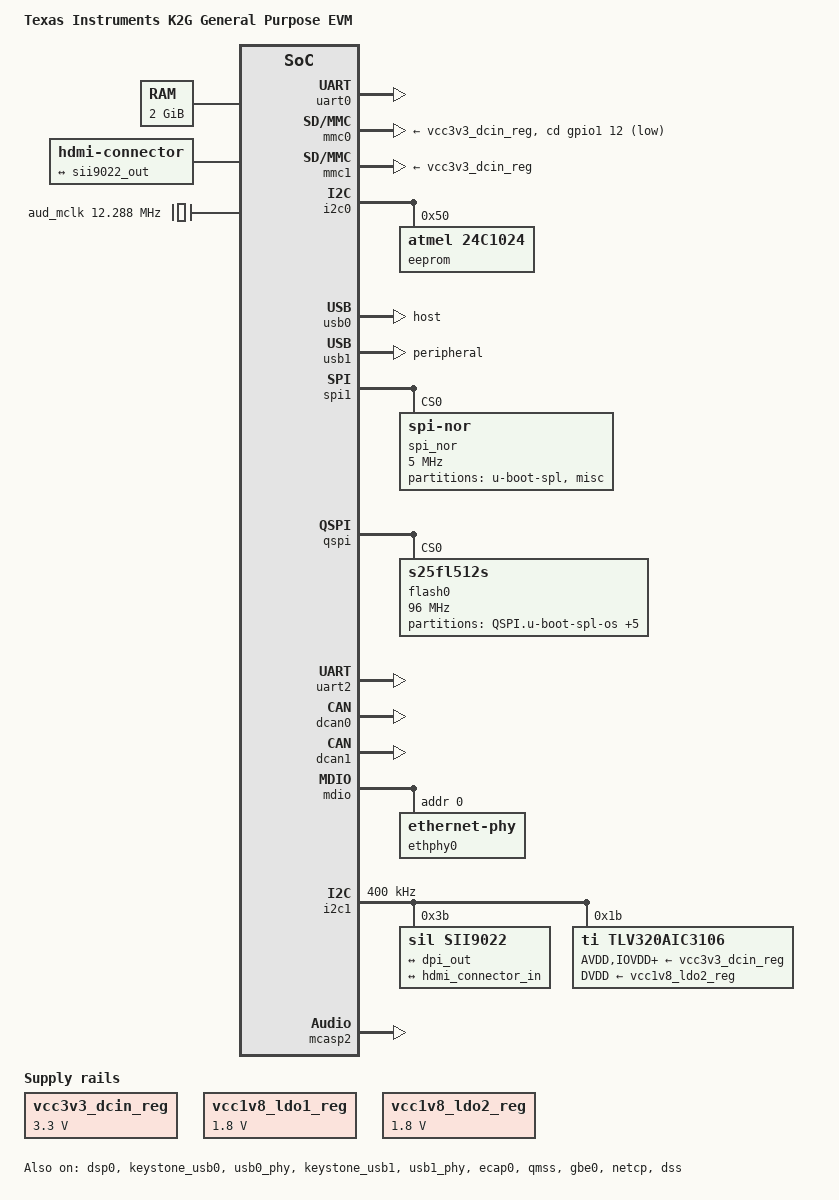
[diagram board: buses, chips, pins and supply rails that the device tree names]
// SPDX-License-Identifier: GPL-2.0
/*
 * Device Tree Source for K2G EVM
 *
 * Copyright (C) 2016-2017 Texas Instruments Incorporated - http://www.ti.com/
 */
/dts-v1/;

#include "keystone-k2g.dtsi"

/ {
	compatible = "ti,k2g-evm", "ti,k2g", "ti,keystone";
	model = "Texas Instruments K2G General Purpose EVM";

	memory@800000000 {
		device_type = "memory";
		reg = <0x00000008 0x00000000 0x00000000 0x80000000>;
	};

	reserved-memory {
		#address-cells = <2>;
		#size-cells = <2>;
		ranges;

		dsp_common_memory: dsp-common-memory@81f800000 {
			compatible = "shared-dma-pool";
			reg = <0x00000008 0x1f800000 0x00000000 0x800000>;
			reusable;
			status = "okay";
		};
	};

	vcc3v3_dcin_reg: fixedregulator-vcc3v3-dcin {
		compatible = "regulator-fixed";
		regulator-name = "mmc0_fixed";
		regulator-min-microvolt = <3300000>;
		regulator-max-microvolt = <3300000>;
		regulator-always-on;
	};

	vcc1v8_ldo1_reg: fixedregulator-vcc1v8-ldo1 {
		compatible = "regulator-fixed";
		regulator-name = "ldo1";
		regulator-min-microvolt = <1800000>;
		regulator-max-microvolt = <1800000>;
		regulator-always-on;
	};

	vcc1v8_ldo2_reg: fixedregulator-vcc1v8-ldo2 {
		compatible = "regulator-fixed";
		regulator-name = "ldo2";
		regulator-min-microvolt = <1800000>;
		regulator-max-microvolt = <1800000>;
		regulator-always-on;
	};

	hdmi: connector {
		compatible = "hdmi-connector";
		label = "hdmi";

		type = "a";

		port {
			hdmi_connector_in: endpoint {
				remote-endpoint = <&sii9022_out>;
			};
		};
	};

	aud_mclk: aud_mclk {
		compatible = "fixed-clock";
		#clock-cells = <0>;
		clock-frequency = <12288000>;
	};

	sound0: sound@0 {
		compatible = "simple-audio-card";
		simple-audio-card,name = "K2G-EVM";
		simple-audio-card,widgets =
			"Headphone", "Headphone Jack",
			"Line", "Line In";
		simple-audio-card,routing =
			"Headphone Jack",	"HPLOUT",
			"Headphone Jack",	"HPROUT",
			"LINE1L",		"Line In",
			"LINE1R",		"Line In";

		simple-audio-card,dai-link@0 {
			format = "i2s";
			bitclock-master = <&sound0_0_master>;
			frame-master = <&sound0_0_master>;
			sound0_0_master: cpu {
				sound-dai = <&mcasp2>;
				clocks = <&k2g_clks 0x6 1>;
				system-clock-direction-out;
			};

			codec {
				sound-dai = <&tlv320aic3106>;
				clocks = <&aud_mclk>;
			};
		};

		simple-audio-card,dai-link@1 {
			format = "i2s";
			bitclock-master = <&sound0_1_master>;
			frame-master = <&sound0_1_master>;
			sound0_1_master: cpu {
				sound-dai = <&mcasp2>;
				clocks = <&k2g_clks 0x6 1>;
				system-clock-direction-out;
			};

			codec {
				sound-dai = <&sii9022>;
				clocks = <&aud_mclk>;
			};
		};
	};
};

&k2g_pinctrl {
	uart0_pins: uart0-pins {
		pinctrl-single,pins = <
			K2G_CORE_IOPAD(0x11cc) (BUFFER_CLASS_B | PULL_DISABLE | MUX_MODE0)	/* uart0_rxd.uart0_rxd */
			K2G_CORE_IOPAD(0x11d0) (BUFFER_CLASS_B | PIN_PULLDOWN | MUX_MODE0)	/* uart0_txd.uart0_txd */
		>;
	};

	mmc0_pins: mmc0-pins {
		pinctrl-single,pins = <
			K2G_CORE_IOPAD(0x1300) (BUFFER_CLASS_B | PIN_PULLUP | MUX_MODE2)	/* mmc0_dat3.mmc0_dat3 */
			K2G_CORE_IOPAD(0x1304) (BUFFER_CLASS_B | PIN_PULLUP | MUX_MODE2)	/* mmc0_dat2.mmc0_dat2 */
			K2G_CORE_IOPAD(0x1308) (BUFFER_CLASS_B | PIN_PULLUP | MUX_MODE2)	/* mmc0_dat1.mmc0_dat1 */
			K2G_CORE_IOPAD(0x130c) (BUFFER_CLASS_B | PIN_PULLUP | MUX_MODE2)	/* mmc0_dat0.mmc0_dat0 */
			K2G_CORE_IOPAD(0x1310) (BUFFER_CLASS_B | PIN_PULLUP | MUX_MODE2)	/* mmc0_clk.mmc0_clk */
			K2G_CORE_IOPAD(0x1314) (BUFFER_CLASS_B | PIN_PULLUP | MUX_MODE2)	/* mmc0_cmd.mmc0_cmd */
			K2G_CORE_IOPAD(0x12ec) (BUFFER_CLASS_B | PIN_PULLUP | MUX_MODE3)	/* mmc0_sdcd.gpio1_12 */
		>;
	};

	mmc1_pins: mmc1-pins {
		pinctrl-single,pins = <
			K2G_CORE_IOPAD(0x10ec) (BUFFER_CLASS_B | PIN_PULLUP | MUX_MODE0)	/* mmc1_dat7.mmc1_dat7 */
			K2G_CORE_IOPAD(0x10f0) (BUFFER_CLASS_B | PIN_PULLUP | MUX_MODE0)	/* mmc1_dat6.mmc1_dat6 */
			K2G_CORE_IOPAD(0x10f4) (BUFFER_CLASS_B | PIN_PULLUP | MUX_MODE0)	/* mmc1_dat5.mmc1_dat5 */
			K2G_CORE_IOPAD(0x10f8) (BUFFER_CLASS_B | PIN_PULLUP | MUX_MODE0)	/* mmc1_dat4.mmc1_dat4 */
			K2G_CORE_IOPAD(0x10fc) (BUFFER_CLASS_B | PIN_PULLUP | MUX_MODE0)	/* mmc1_dat3.mmc1_dat3 */
			K2G_CORE_IOPAD(0x1100) (BUFFER_CLASS_B | PIN_PULLUP | MUX_MODE0)	/* mmc1_dat2.mmc1_dat2 */
			K2G_CORE_IOPAD(0x1104) (BUFFER_CLASS_B | PIN_PULLUP | MUX_MODE0)	/* mmc1_dat1.mmc1_dat1 */
			K2G_CORE_IOPAD(0x1108) (BUFFER_CLASS_B | PIN_PULLUP | MUX_MODE0)	/* mmc1_dat0.mmc1_dat0 */
			K2G_CORE_IOPAD(0x110c) (BUFFER_CLASS_B | PIN_PULLUP | MUX_MODE0)	/* mmc1_clk.mmc1_clk */
			K2G_CORE_IOPAD(0x1110) (BUFFER_CLASS_B | PIN_PULLUP | MUX_MODE0)	/* mmc1_cmd.mmc1_cmd */
		>;
	};

	i2c0_pins: i2c0-pins {
		pinctrl-single,pins = <
			K2G_CORE_IOPAD(0x137c) (BUFFER_CLASS_B | PIN_PULLUP | MUX_MODE0)	/* i2c0_scl.i2c0_scl */
			K2G_CORE_IOPAD(0x1380) (BUFFER_CLASS_B | PIN_PULLUP | MUX_MODE0)	/* i2c0_sda.i2c0_sda */
		>;
	};

	i2c1_pins: i2c1-pins {
		pinctrl-single,pins = <
			K2G_CORE_IOPAD(0x1384) (BUFFER_CLASS_B | PIN_PULLUP | MUX_MODE0)	/* i2c1_scl.i2c1_scl */
			K2G_CORE_IOPAD(0x1388) (BUFFER_CLASS_B | PIN_PULLUP | MUX_MODE0)	/* i2c1_sda.i2c1_sda */
		>;
	};

	ecap0_pins: ecap0-pins {
		pinctrl-single,pins = <
			K2G_CORE_IOPAD(0x1374) (BUFFER_CLASS_B | MUX_MODE4)	/* pr1_mdio_data.ecap0_in_apwm0_out */
		>;
	};

	spi1_pins: spi1-pins {
		pinctrl-single,pins = <
			K2G_CORE_IOPAD(0x11a4) (BUFFER_CLASS_B | PULL_DISABLE | MUX_MODE0)	/* spi1_scs0.spi1_scs0 */
			K2G_CORE_IOPAD(0x11ac) (BUFFER_CLASS_B | PULL_DISABLE | MUX_MODE0)	/* spi1_clk.spi1_clk */
			K2G_CORE_IOPAD(0x11b0) (BUFFER_CLASS_B | PULL_DISABLE | MUX_MODE0)	/* spi1_miso.spi1_miso */
			K2G_CORE_IOPAD(0x11b4) (BUFFER_CLASS_B | PULL_DISABLE | MUX_MODE0)	/* spi1_mosi.spi1_mosi */
		>;
	};

	qspi_pins: qspi-pins {
		pinctrl-single,pins = <
			K2G_CORE_IOPAD(0x1204) (BUFFER_CLASS_B | PULL_DISABLE | MUX_MODE0) /* qspi_clk.qspi_clk */
			K2G_CORE_IOPAD(0x1208) (BUFFER_CLASS_B | PULL_DISABLE | MUX_MODE0) /* qspi_rclk.qspi_rclk */
			K2G_CORE_IOPAD(0x120c) (BUFFER_CLASS_B | PULL_DISABLE | MUX_MODE0) /* qspi_d0.qspi_d0 */
			K2G_CORE_IOPAD(0x1210) (BUFFER_CLASS_B | PULL_DISABLE | MUX_MODE0) /* qspi_d1.qspi_d1 */
			K2G_CORE_IOPAD(0x1214) (BUFFER_CLASS_B | PULL_DISABLE | MUX_MODE0) /* qspi_d2.qspi_d2 */
			K2G_CORE_IOPAD(0x1218) (BUFFER_CLASS_B | PULL_DISABLE | MUX_MODE0) /* qspi_d3.qspi_d3 */
			K2G_CORE_IOPAD(0x121c) (BUFFER_CLASS_B | PULL_DISABLE | MUX_MODE0) /* qspi_csn0.qspi_csn0 */
		>;
	};

	uart2_pins: uart2-pins {
		pinctrl-single,pins = <
			K2G_CORE_IOPAD(0x11ec) (BUFFER_CLASS_B | PULL_DISABLE | MUX_MODE0)      /* uart2_rxd.uart2_rxd */
			K2G_CORE_IOPAD(0x11f0) (BUFFER_CLASS_B | PIN_PULLDOWN | MUX_MODE0)      /* uart2_txd.uart2_txd */
		>;
	};

	dcan0_pins: dcan0-pins {
		pinctrl-single,pins = <
			K2G_CORE_IOPAD(0x11fc) (BUFFER_CLASS_B | PULL_DISABLE  | MUX_MODE0)	/* dcan0tx.dcan0tx */
			K2G_CORE_IOPAD(0x1200) (BUFFER_CLASS_B | PIN_PULLDOWN  | MUX_MODE0)	/* dcan0rx.dcan0rx */
		>;
	};

	dcan1_pins: dcan1-pins {
		pinctrl-single,pins = <
			K2G_CORE_IOPAD(0x1224) (BUFFER_CLASS_B | PULL_DISABLE  | MUX_MODE1)	/* qspicsn2.dcan1tx */
			K2G_CORE_IOPAD(0x1228) (BUFFER_CLASS_B | PIN_PULLDOWN  | MUX_MODE1)	/* qspicsn3.dcan1rx */
		>;
	};

	emac_pins: emac-pins {
		pinctrl-single,pins = <
			K2G_CORE_IOPAD(0x113c) (BUFFER_CLASS_D | PULL_DISABLE | MUX_MODE1)	/* MII_RXD1.RGMII_RXD1 */
			K2G_CORE_IOPAD(0x1138) (BUFFER_CLASS_D | PULL_DISABLE | MUX_MODE1)	/* MII_RXD2.RGMII_RXD2 */
			K2G_CORE_IOPAD(0x1134) (BUFFER_CLASS_D | PULL_DISABLE | MUX_MODE1)	/* MII_RXD3.RGMII_RXD3 */
			K2G_CORE_IOPAD(0x1140) (BUFFER_CLASS_D | PULL_DISABLE | MUX_MODE1)	/* MII_RXD0.RGMII_RXD0 */
			K2G_CORE_IOPAD(0x1178) (BUFFER_CLASS_D | PULL_DISABLE | MUX_MODE1)	/* MII_TXD0.RGMII_TXD0 */
			K2G_CORE_IOPAD(0x1174) (BUFFER_CLASS_D | PULL_DISABLE | MUX_MODE1)	/* MII_TXD1.RGMII_TXD1 */
			K2G_CORE_IOPAD(0x1170) (BUFFER_CLASS_D | PULL_DISABLE | MUX_MODE1)	/* MII_TXD2.RGMII_TXD2 */
			K2G_CORE_IOPAD(0x116c) (BUFFER_CLASS_D | PULL_DISABLE | MUX_MODE1)	/* MII_TXD3.RGMII_TXD3 */
			K2G_CORE_IOPAD(0x1154) (BUFFER_CLASS_D | PULL_DISABLE | MUX_MODE1)	/* MII_TXCLK.RGMII_TXC */
			K2G_CORE_IOPAD(0x117c) (BUFFER_CLASS_D | PULL_DISABLE | MUX_MODE1)	/* MII_TXEN.RGMII_TXCTL */
			K2G_CORE_IOPAD(0x1120) (BUFFER_CLASS_D | PULL_DISABLE | MUX_MODE1)	/* MII_RXCLK.RGMII_RXC */
			K2G_CORE_IOPAD(0x1144) (BUFFER_CLASS_D | PULL_DISABLE | MUX_MODE1)	/* MII_RXDV.RGMII_RXCTL */
		>;
	};

	mdio_pins: mdio-pins {
		pinctrl-single,pins = <
			K2G_CORE_IOPAD(0x118c) (BUFFER_CLASS_B | PULL_DISABLE | MUX_MODE0)	/* MDIO_CLK.MDIO_CLK */
			K2G_CORE_IOPAD(0x1188) (BUFFER_CLASS_B | PULL_DISABLE | MUX_MODE0)	/* MDIO_DATA.MDIO_DATA */
		>;
	};

	vout_pins: vout-pins {
		pinctrl-single,pins = <
			K2G_CORE_IOPAD(0x1078) (BUFFER_CLASS_B | PULL_DISABLE | MUX_MODE0) /* dssdata23.dssdata23 */
			K2G_CORE_IOPAD(0x107c) (BUFFER_CLASS_B | PULL_DISABLE | MUX_MODE0) /* dssdata22.dssdata22 */
			K2G_CORE_IOPAD(0x1080) (BUFFER_CLASS_B | PULL_DISABLE | MUX_MODE0) /* dssdata21.dssdata21 */
			K2G_CORE_IOPAD(0x1084) (BUFFER_CLASS_B | PULL_DISABLE | MUX_MODE0) /* dssdata20.dssdata20 */
			K2G_CORE_IOPAD(0x1088) (BUFFER_CLASS_B | PULL_DISABLE | MUX_MODE0) /* dssdata19.dssdata19 */
			K2G_CORE_IOPAD(0x108c) (BUFFER_CLASS_B | PULL_DISABLE | MUX_MODE0) /* dssdata18.dssdata18 */
			K2G_CORE_IOPAD(0x1090) (BUFFER_CLASS_B | PULL_DISABLE | MUX_MODE0) /* dssdata17.dssdata17 */
			K2G_CORE_IOPAD(0x1094) (BUFFER_CLASS_B | PULL_DISABLE | MUX_MODE0) /* dssdata16.dssdata16 */
			K2G_CORE_IOPAD(0x1098) (BUFFER_CLASS_B | PULL_DISABLE | MUX_MODE0) /* dssdata15.dssdata15 */
			K2G_CORE_IOPAD(0x109c) (BUFFER_CLASS_B | PULL_DISABLE | MUX_MODE0) /* dssdata14.dssdata14 */
			K2G_CORE_IOPAD(0x10a0) (BUFFER_CLASS_B | PULL_DISABLE | MUX_MODE0) /* dssdata13.dssdata13 */
			K2G_CORE_IOPAD(0x10a4) (BUFFER_CLASS_B | PULL_DISABLE | MUX_MODE0) /* dssdata12.dssdata12 */
			K2G_CORE_IOPAD(0x10a8) (BUFFER_CLASS_B | PULL_DISABLE | MUX_MODE0) /* dssdata11.dssdata11 */
			K2G_CORE_IOPAD(0x10ac) (BUFFER_CLASS_B | PULL_DISABLE | MUX_MODE0) /* dssdata10.dssdata10 */
			K2G_CORE_IOPAD(0x10b0) (BUFFER_CLASS_B | PULL_DISABLE | MUX_MODE0) /* dssdata9.dssdata9 */
			K2G_CORE_IOPAD(0x10b4) (BUFFER_CLASS_B | PULL_DISABLE | MUX_MODE0) /* dssdata8.dssdata8 */
			K2G_CORE_IOPAD(0x10b8) (BUFFER_CLASS_B | PULL_DISABLE | MUX_MODE0) /* dssdata7.dssdata7 */
			K2G_CORE_IOPAD(0x10bc) (BUFFER_CLASS_B | PULL_DISABLE | MUX_MODE0) /* dssdata6.dssdata6 */
			K2G_CORE_IOPAD(0x10c0) (BUFFER_CLASS_B | PULL_DISABLE | MUX_MODE0) /* dssdata5.dssdata5 */
			K2G_CORE_IOPAD(0x10c4) (BUFFER_CLASS_B | PULL_DISABLE | MUX_MODE0) /* dssdata4.dssdata4 */
			K2G_CORE_IOPAD(0x10c8) (BUFFER_CLASS_B | PULL_DISABLE | MUX_MODE0) /* dssdata3.dssdata3 */
			K2G_CORE_IOPAD(0x10cc) (BUFFER_CLASS_B | PULL_DISABLE | MUX_MODE0) /* dssdata2.dssdata2 */
			K2G_CORE_IOPAD(0x10d0) (BUFFER_CLASS_B | PULL_DISABLE | MUX_MODE0) /* dssdata1.dssdata1 */
			K2G_CORE_IOPAD(0x10d4) (BUFFER_CLASS_B | PULL_DISABLE | MUX_MODE0) /* dssdata0.dssdata0 */
			K2G_CORE_IOPAD(0x10d8) (BUFFER_CLASS_B | PULL_DISABLE | MUX_MODE0) /* dssvsync.dssvsync */
			K2G_CORE_IOPAD(0x10dc) (BUFFER_CLASS_B | PULL_DISABLE | MUX_MODE0) /* dsshsync.dsshsync */
			K2G_CORE_IOPAD(0x10e0) (BUFFER_CLASS_B | PULL_DISABLE | MUX_MODE0) /* dsspclk.dsspclk */
			K2G_CORE_IOPAD(0x10e4) (BUFFER_CLASS_B | PULL_DISABLE | MUX_MODE0) /* dssde.dssde */
			K2G_CORE_IOPAD(0x10e8) (BUFFER_CLASS_B | PULL_DISABLE | MUX_MODE0) /* dssfid.dssfid */
		>;
	};

	mcasp2_pins: mcasp2-pins {
		pinctrl-single,pins = <
			K2G_CORE_IOPAD(0x1234) (BUFFER_CLASS_B | PIN_PULLDOWN | MUX_MODE4) /* pr0_pru_gpo2.mcasp2_axr2 */
			K2G_CORE_IOPAD(0x1238) (BUFFER_CLASS_B | PIN_PULLDOWN | MUX_MODE4) /* pr0_pru_gpo3.mcasp2_axr3 */
			K2G_CORE_IOPAD(0x1254) (BUFFER_CLASS_B | PIN_PULLDOWN | MUX_MODE4) /* pr0_pru_gpo10.mcasp2_afsx */
			K2G_CORE_IOPAD(0x125c) (BUFFER_CLASS_B | PIN_PULLDOWN | MUX_MODE4) /* pr0_pru_gpo12.mcasp2_aclkx */
		>;
	};
};

&uart0 {
	pinctrl-names = "default";
	pinctrl-0 = <&uart0_pins>;
	status = "okay";
};

&gpio1 {
	status = "okay";
};

&mmc0 {
	pinctrl-names = "default";
	pinctrl-0 = <&mmc0_pins>;
	vmmc-supply = <&vcc3v3_dcin_reg>;
	vqmmc-supply = <&vcc3v3_dcin_reg>;
	cd-gpios = <&gpio1 12 GPIO_ACTIVE_LOW>;
	status = "okay";
};

&mmc1 {
	pinctrl-names = "default";
	pinctrl-0 = <&mmc1_pins>;
	vmmc-supply = <&vcc3v3_dcin_reg>; /* VCC3V3_EMMC is connected to VCC3V3_DCIN */
	vqmmc-supply = <&vcc1v8_ldo1_reg>;
	ti,non-removable;
	status = "okay";
};

&dsp0 {
	memory-region = <&dsp_common_memory>;
	status = "okay";
};

&i2c0 {
	pinctrl-names = "default";
	pinctrl-0 = <&i2c0_pins>;
	status = "okay";

	eeprom@50 {
		compatible = "atmel,24c1024";
		reg = <0x50>;
	};
};

&keystone_usb0 {
	status = "okay";
};

&usb0_phy {
	status = "okay";
};

&usb0 {
	dr_mode = "host";
	status = "okay";
};

&keystone_usb1 {
	status = "okay";
};

&usb1_phy {
	status = "okay";
};

&usb1 {
	dr_mode = "peripheral";
	status = "okay";
};

&ecap0 {
	status = "okay";
	pinctrl-names = "default";
	pinctrl-0 = <&ecap0_pins>;
};

&spi1 {
	pinctrl-names = "default";
	pinctrl-0 = <&spi1_pins>;
	status = "okay";

	spi_nor: flash@0 {
		#address-cells = <1>;
		#size-cells = <1>;
		compatible = "jedec,spi-nor";
		spi-max-frequency = <5000000>;
		m25p,fast-read;
		reg = <0>;

		partition@0 {
			label = "u-boot-spl";
			reg = <0x0 0x100000>;
			read-only;
		};

		partition@1 {
			label = "misc";
			reg = <0x100000 0xf00000>;
		};
	};
};

&qspi {
	status = "okay";
	pinctrl-names = "default";
	pinctrl-0 = <&qspi_pins>;
	cdns,rclk-en;

	flash0: flash@0 {
		compatible = "s25fl512s", "jedec,spi-nor";
		reg = <0>;
		spi-tx-bus-width = <1>;
		spi-rx-bus-width = <4>;
		spi-max-frequency = <96000000>;
		#address-cells = <1>;
		#size-cells = <1>;
		cdns,read-delay = <5>;
		cdns,tshsl-ns = <500>;
		cdns,tsd2d-ns = <500>;
		cdns,tchsh-ns = <119>;
		cdns,tslch-ns = <119>;

		partition@0 {
			label = "QSPI.u-boot-spl-os";
			reg = <0x00000000 0x00100000>;
		};
		partition@1 {
			label = "QSPI.u-boot-env";
			reg = <0x00100000 0x00040000>;
		};
		partition@2 {
			label = "QSPI.skern";
			reg = <0x00140000 0x0040000>;
		};
		partition@3 {
			label = "QSPI.pmmc-firmware";
			reg = <0x00180000 0x0040000>;
		};
		partition@4 {
			label = "QSPI.kernel";
			reg = <0x001c0000 0x0800000>;
		};
		partition@5 {
			label = "QSPI.file-system";
			reg = <0x009c0000 0x3640000>;
		};
	};
};

&uart2 {
	pinctrl-names = "default";
	pinctrl-0 = <&uart2_pins>;
	status = "okay";
};

&dcan0 {
	pinctrl-names = "default";
	pinctrl-0 = <&dcan0_pins>;
	status = "okay";
};

&dcan1 {
	pinctrl-names = "default";
	pinctrl-0 = <&dcan1_pins>;
	status = "okay";
};

&qmss {
	status = "okay";
};

&knav_dmas {
	status = "okay";
};

&mdio {
	pinctrl-names = "default";
	pinctrl-0 = <&mdio_pins>;
	status = "okay";
	ethphy0: ethernet-phy@0 {
		reg = <0>;
	};
};

&gbe0 {
	phy-handle = <&ethphy0>;
	phy-mode = "rgmii-rxid";
	status = "okay";
};

&netcp {
	pinctrl-names = "default";
	pinctrl-0 = <&emac_pins>;
	status = "okay";
};

&i2c1 {
	pinctrl-names = "default";
	pinctrl-0 = <&i2c1_pins>;
	status = "okay";
	clock-frequency = <400000>;

	sii9022: sii9022@3b {
		#sound-dai-cells = <0>;
		compatible = "sil,sii9022";
		reg = <0x3b>;

		sil,i2s-data-lanes = < 0 >;
		clocks = <&aud_mclk>;
		clock-names = "mclk";

		ports {
			#address-cells = <1>;
			#size-cells = <0>;

			port@0 {
				reg = <0>;

				sii9022_in: endpoint {
					remote-endpoint = <&dpi_out>;
				};
			};

			port@1 {
				reg = <1>;

				sii9022_out: endpoint {
					remote-endpoint = <&hdmi_connector_in>;
				};
			};
		};
	};

	tlv320aic3106: tlv320aic3106@1b {
		#sound-dai-cells = <0>;
		compatible = "ti,tlv320aic3106";
		reg = <0x1b>;
		status = "okay";

		/* Regulators */
		AVDD-supply = <&vcc3v3_dcin_reg>;
		IOVDD-supply = <&vcc3v3_dcin_reg>;
		DRVDD-supply = <&vcc3v3_dcin_reg>;
		DVDD-supply = <&vcc1v8_ldo2_reg>;
	};
};

&dss {
	pinctrl-names = "default";
	pinctrl-0 = <&vout_pins>;
	status = "okay";

	port {
		dpi_out: endpoint {
			remote-endpoint = <&sii9022_in>;
			data-lines = <24>;
		};
	};
};

&mcasp2 {
	#sound-dai-cells = <0>;

	pinctrl-names = "default";
	pinctrl-0 = <&mcasp2_pins>;

	assigned-clocks = <&k2g_clks 0x4c 2>, <&k2g_clks 0x6 1>;
	assigned-clock-parents = <0>, <&k2g_clks 0x6 2>;
	assigned-clock-rates = <22579200>, <0>;

	status = "okay";

	op-mode = <0>;		/* MCASP_IIS_MODE */
	tdm-slots = <2>;
	/* 6 serializer */
	serial-dir = <	/* 0: INACTIVE, 1: TX, 2: RX */
		0 0 1 2 0 0 // AXR2: TX, AXR3: rx
	>;
	tx-num-evt = <32>;
	rx-num-evt = <32>;
};
